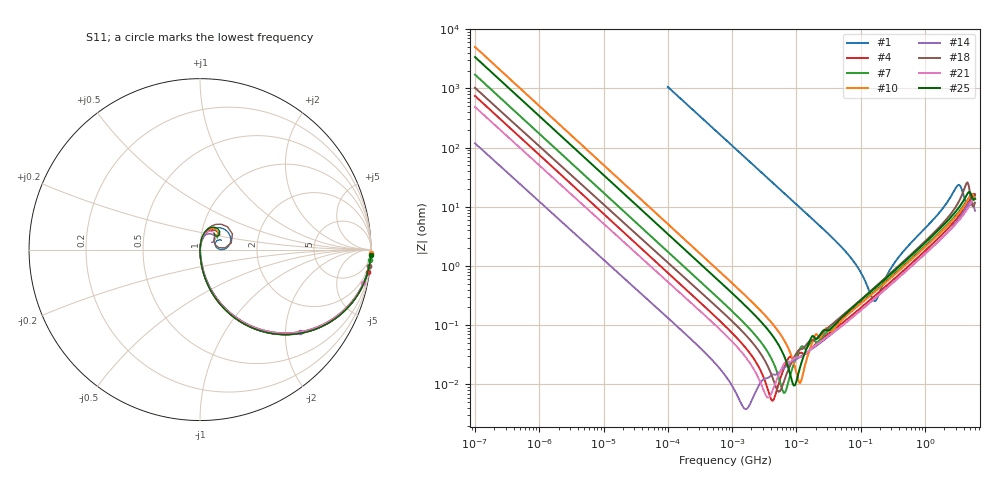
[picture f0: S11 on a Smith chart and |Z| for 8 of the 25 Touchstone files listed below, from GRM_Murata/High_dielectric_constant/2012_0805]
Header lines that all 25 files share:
!These Parameters are Measured in Series Mode Connection
!Data Generated on Mar 30, 2021
!  o--ll--o
!Port1  Port2
!  o------o
!Operation Temp=25[degC], DC Bias Voltage=0[V]
# Hz S RI R 50
!Freq.(Hz) S11(Real) S11(Imag) S21(Real) S21(Imag) S12(Real) S12(Imag) S22(Real) S22(Imag)
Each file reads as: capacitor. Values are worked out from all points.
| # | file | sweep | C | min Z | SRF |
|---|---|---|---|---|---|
| 1 | GRM21AR72E152KW01.s2p | 100 kHz to 6 GHz | 1.5 nF | 256 mohm | 165.2 MHz |
| 2 | GRM21AR72E222KW01.s2p | 100 kHz to 6 GHz | 2.11 nF | 192 mohm | 140.4 MHz |
| 3 | GRM21AR72E332KW01.s2p | 100 kHz to 6 GHz | 3.13 nF | 157 mohm | 114.3 MHz |
| 4 | GRM21BB10J225KA01.s2p | 100 Hz to 6 GHz | 2.13 uF | 5.27 mohm | 4.316 MHz |
| 5 | GRM21BB10J475KA11.s2p | 100 Hz to 6 GHz | 3.28 uF | 6.23 mohm | 3.722 MHz |
| 6 | GRM21BB11A225MA01.s2p | 100 Hz to 6 GHz | 2.09 uF | 5.63 mohm | 4.32 MHz |
| 7 | GRM21BB11C105KA01.s2p | 100 Hz to 6 GHz | 930 nF | 7.18 mohm | 6.546 MHz |
| 8 | GRM21BB11C224KA01.s2p | 100 Hz to 6 GHz | 218 nF | 14.3 mohm | 13.89 MHz |
| 9 | GRM21BB11E154KA01.s2p | 100 Hz to 6 GHz | 148 nF | 18.5 mohm | 16.8 MHz |
| 10 | GRM21BB11E334KA01.s2p | 100 Hz to 6 GHz | 316 nF | 10.5 mohm | 11.43 MHz |
| 11 | GRM21BB11H104MA01.s2p | 100 Hz to 6 GHz | 96 nF | 20.4 mohm | 21.13 MHz |
| 12 | GRM21BB11H473KA01.s2p | 100 Hz to 6 GHz | 46.6 nF | 28.4 mohm | 31.89 MHz |
| 13 | GRM21BB30J106KE18.s2p | 100 Hz to 6 GHz | 8.4 uF | 3.77 mohm | 2.091 MHz |
| 14 | GRM21BB30J226ME38.s2p | 100 Hz to 6 GHz | 13.4 uF | 3.83 mohm | 1.695 MHz |
| 15 | GRM21BB30J476ME15.s2p | 100 Hz to 6 GHz | 34.5 uF | 2.79 mohm | 910.9 kHz |
| 16 | GRM21BB31A226ME51.s2p | 100 Hz to 6 GHz | 13.2 uF | 4.1 mohm | 1.716 MHz |
| 17 | GRM21BB31A475KA74.s2p | 100 Hz to 6 GHz | 3.28 uF | 6.23 mohm | 3.722 MHz |
| 18 | GRM21BB31C225KA87.s2p | 100 Hz to 6 GHz | 1.55 uF | 7.52 mohm | 5.415 MHz |
| 19 | GRM21BB31D106ME15.s2p | 100 Hz to 6 GHz | 7.06 uF | 5.06 mohm | 2.463 MHz |
| 20 | GRM21BB31E105KA98.s2p | 100 Hz to 6 GHz | 982 nF | 7.64 mohm | 6.276 MHz |
| 21 | GRM21BB31E475KA75.s2p | 100 Hz to 6 GHz | 3.26 uF | 5.96 mohm | 3.738 MHz |
| 22 | GRM21BB31H154KA88.s2p | 100 Hz to 6 GHz | 146 nF | 17.2 mohm | 16.75 MHz |
| 23 | GRM21BB31H224KA88.s2p | 100 Hz to 6 GHz | 223 nF | 13.8 mohm | 13.81 MHz |
| 24 | GRM21BB31H225KA73.s2p | 100 Hz to 6 GHz | 1.57 uF | 7.87 mohm | 5.39 MHz |
| 25 | GRM21BB31H474KA87.s2p | 100 Hz to 6 GHz | 469 nF | 9.55 mohm | 9.331 MHz |
